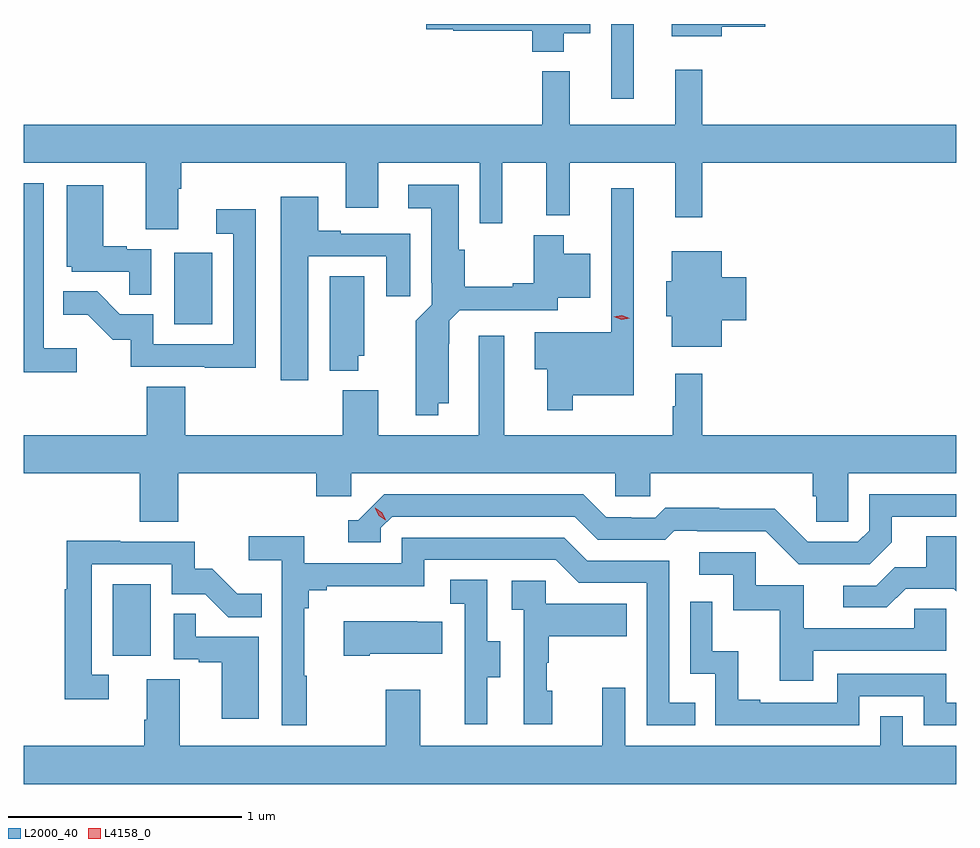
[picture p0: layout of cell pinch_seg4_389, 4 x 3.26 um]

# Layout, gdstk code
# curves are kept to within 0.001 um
import gdstk
lib = gdstk.Library(unit=1e-6, precision=1e-09)
def R(c, l, rs):  # rectangles x0, y0, x1, y1
    for r in rs: c.add(gdstk.rectangle(r[:2], r[2:], *l))
def P(c, l, *ps):  # polygons
    for p in ps: c.add(gdstk.Polygon(p, *l))
L2000_40 = (2000, 40)
L4158_0 = (4158, 0)

pinch_seg4_389 = lib.new_cell('pinch_seg4_389')
R(pinch_seg4_389, L2000_40, [(973.4,788.046,973.564,788.353), (973.664,789.468,973.828,789.775), (975.537,790.434,975.634,790.755)])
P(pinch_seg4_389, L2000_40, [(975.334,790.715),(975.448,790.715),(975.448,790.755),(974.744,790.755),(974.744,790.733),(974.86,790.733),(974.86,790.726),(975.2,790.726),(975.2,790.637),(975.334,790.637)],
  [(976.012,790.744),(976.198,790.744),(976.198,790.755),(975.797,790.755),(975.797,790.703),(976.012,790.703)],
  [(975.241,790.324),(973.018,790.324),(973.018,790.16),(973.541,790.16),(973.541,789.874),(973.681,789.874),(973.681,790.048),(973.694,790.048),(973.694,790.16),(974.399,790.16),(974.399,789.966),(974.539,789.966),(974.539,790.16),(974.973,790.16),(974.973,789.9),(975.071,789.9),(975.071,790.16),(975.26,790.16),(975.26,789.935),(975.359,789.935),(975.359,790.16),(975.812,790.16),(975.812,789.927),(975.929,789.927),(975.929,790.16),(977.018,790.16),(977.018,790.324),(975.929,790.324),(975.929,790.558),(975.812,790.558),(975.812,790.324),(975.359,790.324),(975.359,790.552),(975.241,790.552)],
  [(973.246,789.364),(973.104,789.364),(973.104,790.072),(973.018,790.072),(973.018,789.262),(973.246,789.262)],
  [(974.797,789.128),(974.842,789.128),(974.843,789.482),(974.889,789.528),(975.309,789.528),(975.309,789.581),(975.448,789.581),(975.448,789.769),(975.334,789.769),(975.334,789.85),(975.205,789.85),(975.205,789.644),(975.116,789.644),(975.116,789.629),(974.91,789.629),(974.91,789.786),(974.884,789.786),(974.884,790.066),(974.667,790.066),(974.667,789.965),(974.765,789.965),(974.765,789.646),(974.769,789.646),(974.769,789.552),(974.699,789.482),(974.7,789.077),(974.797,789.077)],
  [(973.566,789.789),(973.46,789.789),(973.46,789.802),(973.36,789.802),(973.36,790.063),(973.202,790.063),(973.202,789.714),(973.224,789.714),(973.224,789.693),(973.471,789.693),(973.471,789.595),(973.566,789.595)],
  [(975.373,789.164),(975.634,789.164),(975.634,790.051),(975.537,790.051),(975.537,789.433),(975.21,789.433),(975.21,789.275),(975.263,789.275),(975.263,789.099),(975.373,789.099)],
  [(974.239,789.759),(974.573,789.759),(974.573,789.588),(974.677,789.588),(974.677,789.855),(974.377,789.855),(974.377,789.868),(974.281,789.868),(974.281,790.015),(974.12,790.015),(974.12,789.228),(974.239,789.228)],
  [(974.013,789.961),(973.845,789.961),(973.845,789.855),(973.917,789.855),(973.917,789.381),(973.575,789.381),(973.575,789.51),(973.431,789.51),(973.333,789.608),(973.189,789.608),(973.189,789.509),(973.293,789.509),(973.4,789.402),(973.477,789.402),(973.477,789.285),(973.795,789.285),(973.795,789.28),(974.013,789.28)],
  [(976.012,789.485),(976.117,789.485),(976.117,789.668),(976.012,789.668),(976.012,789.781),(975.797,789.781),(975.797,789.651),(975.773,789.651),(975.773,789.501),(975.797,789.501),(975.797,789.371),(976.012,789.371)],
  [(974.452,789.333),(974.479,789.333),(974.479,789.674),(974.33,789.674),(974.33,789.269),(974.452,789.269)],
  [(973.682,788.828),(974.273,788.828),(974.273,788.73),(974.424,788.73),(974.424,788.828),(975.555,788.828),(975.555,788.73),(975.705,788.73),(975.705,788.828),(976.403,788.828),(976.403,788.73),(976.417,788.73),(976.417,788.62),(976.554,788.62),(976.554,788.828),(977.018,788.828),(977.018,788.992),(975.929,788.992),(975.929,789.256),(975.812,789.256),(975.812,789.116),(975.801,789.116),(975.801,788.992),(975.079,788.992),(975.079,789.418),(974.969,789.418),(974.969,788.992),(974.539,788.992),(974.539,789.184),(974.387,789.184),(974.387,788.992),(973.712,788.992),(973.712,789.2),(973.547,789.2),(973.547,788.992),(973.018,788.992),(973.018,788.828),(973.517,788.828),(973.517,788.62),(973.682,788.62)],
  [(976.741,788.533),(976.741,788.643),(977.018,788.643),(977.018,788.739),(976.644,788.739),(976.644,788.583),(976.596,788.535),(976.38,788.535),(976.238,788.677),(976.002,788.677),(976.002,788.68),(975.769,788.68),(975.727,788.637),(975.624,788.637),(975.624,788.64),(975.517,788.64),(975.418,788.739),(974.565,788.739),(974.454,788.628),(974.411,788.628),(974.411,788.532),(974.55,788.532),(974.55,788.595),(974.598,788.643),(975.381,788.643),(975.48,788.544),(975.769,788.544),(975.808,788.583),(975.907,788.583),(975.907,788.58),(976.2,788.58),(976.341,788.439),(976.647,788.439)],
  [(976.801,788.334),(977.007,788.334),(977.018,788.323),(977.018,788.558),(976.889,788.558),(976.889,788.426),(976.754,788.426),(976.674,788.346),(976.533,788.346),(976.533,788.253),(976.72,788.253)],
  [(974.233,787.961),(974.221,787.961),(974.221,788.249),(974.24,788.249),(974.24,788.326),(974.317,788.326),(974.317,788.345),(974.736,788.345),(974.736,788.457),(975.3,788.457),(975.399,788.358),(975.69,788.358),(975.69,787.749),(975.899,787.749),(975.899,787.845),(975.786,787.845),(975.786,788.454),(975.436,788.454),(975.337,788.553),(974.64,788.553),(974.64,788.442),(974.222,788.442),(974.222,788.558),(973.983,788.558),(973.983,788.456),(974.124,788.456),(974.124,787.749),(974.233,787.749)],
  [(973.384,787.965),(973.311,787.965),(973.311,788.439),(973.653,788.439),(973.653,788.31),(973.797,788.31),(973.895,788.212),(974.039,788.212),(974.039,788.311),(973.935,788.311),(973.828,788.418),(973.752,788.418),(973.752,788.535),(973.433,788.535),(973.433,788.54),(973.203,788.54),(973.203,788.332),(973.195,788.332),(973.195,787.86),(973.384,787.86)],
  [(976.405,788.067),(976.974,788.067),(976.974,788.247),(976.837,788.247),(976.837,788.163),(976.363,788.163),(976.363,788.349),(976.158,788.349),(976.158,788.49),(975.915,788.49),(975.915,788.394),(976.062,788.394),(976.062,788.241),(976.261,788.241),(976.261,787.938),(976.405,787.938)],
  [(975.007,787.954),(975.061,787.954),(975.061,788.109),(975.006,788.109),(975.006,788.372),(974.847,788.372),(974.847,788.269),(974.91,788.269),(974.91,787.965),(974.909,787.965),(974.909,787.752),(975.007,787.752)],
  [(975.286,787.896),(975.261,787.896),(975.261,788.015),(975.271,788.015),(975.271,788.129),(975.605,788.129),(975.605,788.269),(975.258,788.269),(975.258,788.367),(975.111,788.367),(975.111,788.243),(975.162,788.243),(975.162,787.752),(975.286,787.752)],
  [(976.602,787.872),(976.878,787.872),(976.878,787.749),(977.018,787.749),(977.018,787.845),(976.974,787.845),(976.974,787.968),(976.506,787.968),(976.506,787.845),(976.177,787.845),(976.177,787.858),(976.082,787.858),(976.082,788.066),(975.972,788.066),(975.972,788.278),(975.876,788.278),(975.876,787.968),(975.984,787.968),(975.984,787.749),(976.602,787.749)],
  [(974.026,788.127),(973.757,788.127),(973.757,788.225),(973.662,788.225),(973.662,788.031),(973.769,788.031),(973.769,788.019),(973.868,788.019),(973.868,787.776),(974.026,787.776)],
  [(974.503,788.054),(974.813,788.054),(974.813,788.191),(974.705,788.191),(974.705,788.194),(974.391,788.194),(974.391,788.047),(974.503,788.047)],
  [(977.018,787.66),(976.788,787.66),(976.788,787.787),(976.692,787.787),(976.692,787.66),(975.597,787.66),(975.597,787.909),(975.5,787.909),(975.5,787.66),(974.719,787.66),(974.719,787.9),(974.572,787.9),(974.572,787.66),(973.687,787.66),(973.687,787.946),(973.547,787.946),(973.547,787.772),(973.535,787.772),(973.535,787.66),(973.018,787.66),(973.018,787.496),(977.018,787.496)])
P(pinch_seg4_389, L4158_0, [(974.572,788.628),(974.541,788.647),(974.525,788.679),(974.525,788.68),(974.526,788.68),(974.556,788.66),(974.572,788.628),(974.572,788.628)],
  [(975.582,789.487),(975.548,789.499),(975.548,789.499),(975.548,789.5),(975.584,789.507),(975.618,789.494),(975.618,789.494),(975.618,789.494)])

lib.write_gds('pinch_seg4_389.gds')
